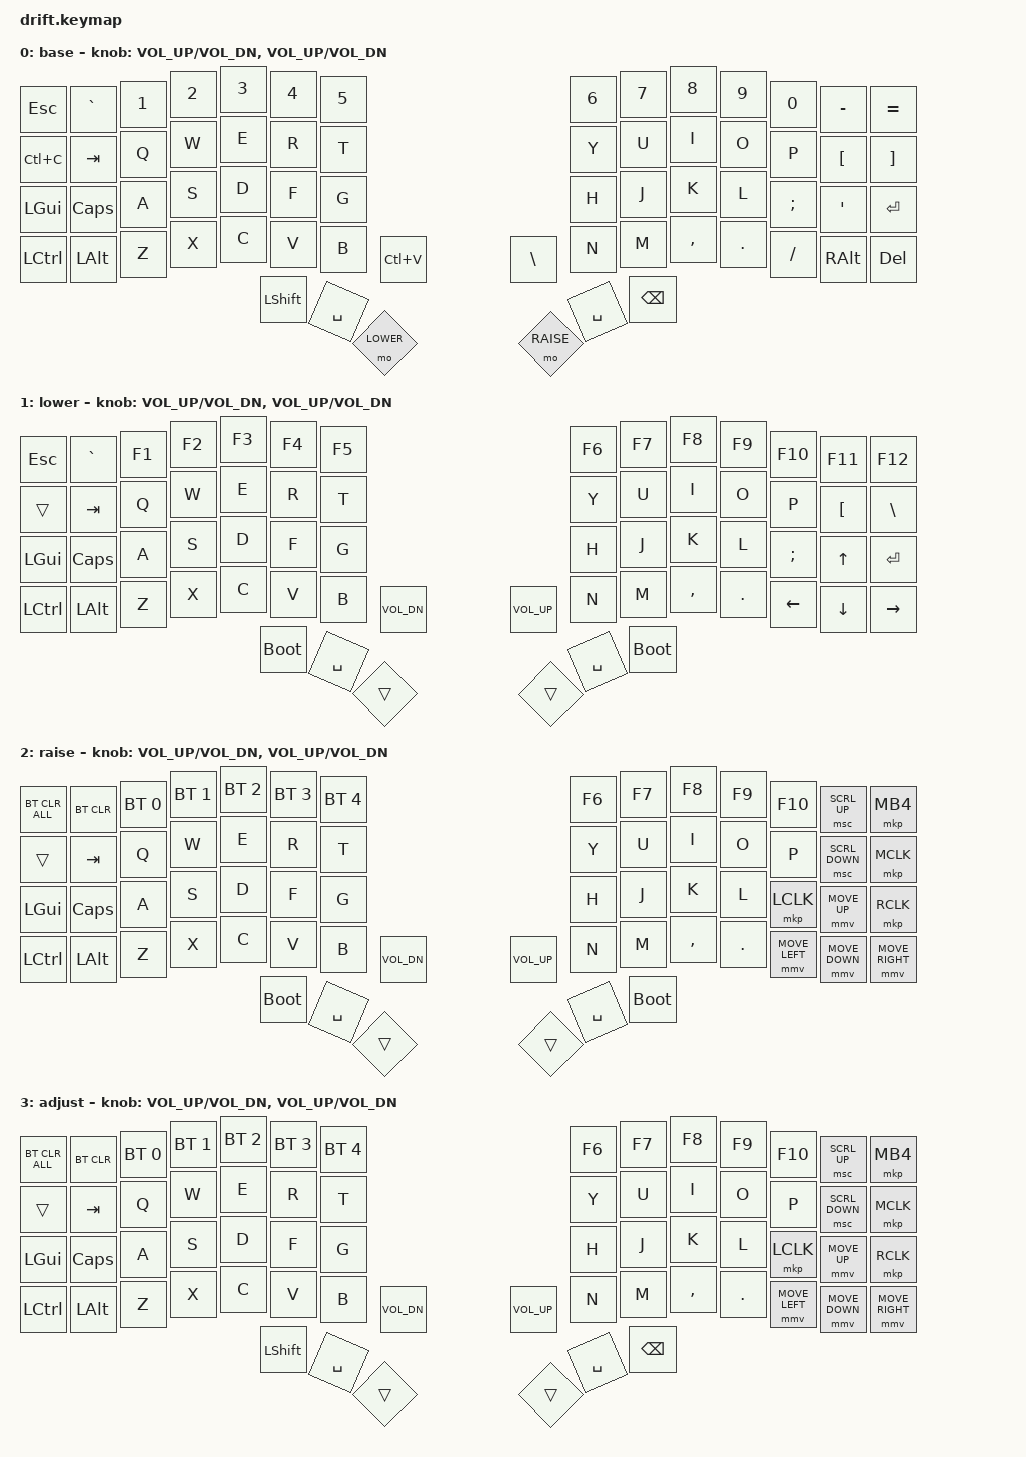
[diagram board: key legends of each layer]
// Copyright (c) 2025 Timception
// SPDX-License-Identifier: MIT

#define ZMK_POINTING_DEFAULT_MOVE_VAL 1500  // default: 600
#define ZMK_POINTING_DEFAULT_SCRL_VAL 20    // default: 10

#include <dt-bindings/zmk/mouse.h>
#include <behaviors.dtsi>
#include <dt-bindings/zmk/bt.h>
#include <dt-bindings/zmk/keys.h>
#include <dt-bindings/zmk/pointing.h>

#define BASE 0
#define LOWER 1
#define RAISE 2
#define ADJUST 3

/ {
    conditional_layers {
        compatible = "zmk,conditional-layers";

        tri_layer {
            if-layers = <LOWER RAISE>;
            then-layer = <ADJUST>;
        };
    };

    keymap {
        compatible = "zmk,keymap";

        default_layer {
            display-name = "base";

            // -------------------------------------------------------------------------------------------------------------------
            // | ESC   |   `   |  1  |  2  |  3  |   4   |   5   |               |   6   |   7   |   8   |  9  |  0  |  -  |  =  |
            // | COPY  |  TAB  |  Q  |  W  |  E  |   R   |   T   |               |   Y   |   U   |   I   |  O  |  P  |  [  |  ]  |
            // | GUI   | CAPS  |  A  |  S  |  D  |   F   |   G   |               |   H   |   J   |   K   |  L  |  ;  |  '  |ENTER|
            // | CTRL  |  ALT  |  Z  |  X  |  C  |   V   |   B   | PASTE | |  \  |   N   |   M   |   ,   |  .  |  /  | ALT |CTRL |
            //                                   | SHIFT | SPACE | LOWER |       | RAISE | SPACE | BKSPC |

           bindings = <
           &kp ESC    &kp GRAVE  &kp N1  &kp N2  &kp N3     &kp N4     &kp N5                               &kp N6     &kp N7     &kp N8     &kp N9   &kp N0    &kp MINUS  &kp EQUAL
           &kp LC(C)  &kp TAB    &kp Q   &kp W   &kp E      &kp R      &kp T                                &kp Y      &kp U      &kp I      &kp O    &kp P     &kp LBKT   &kp RBKT
           &kp LGUI   &kp CAPS   &kp A   &kp S   &kp D      &kp F      &kp G                                &kp H      &kp J      &kp K      &kp L    &kp SEMI  &kp SQT    &kp ENTER
           &kp LCTRL  &kp LALT   &kp Z   &kp X   &kp C      &kp V      &kp B      &kp LC(V)  &kp BACKSLASH  &kp N      &kp M      &kp COMMA  &kp DOT  &kp FSLH  &kp RALT   &kp DEL
                                                 &kp LSHFT  &kp SPACE  &mo LOWER                            &mo RAISE  &kp SPACE  &kp BSPC
            >;

            sensor-bindings = <&inc_dec_kp C_VOL_UP C_VOL_DN &inc_dec_kp C_VOL_UP C_VOL_DN>;
        };

        lower_layer {
            display-name = "lower";
			
	    // ----------------------------------------------------------------------------------------------------------------------------------------
            // | ESC   |   `   |  F1  |  F2  |     F3     |   F4   |   F5  |               |   F6  |   F7  |      F8    |  F9 |  F10 |   F11  |  F12  |
            // | COPY  |  TAB  |  Q   |  W   |     E      |   R    |   T   |               |   Y   |   U   |      I     |  O  |   P  |   [    |   \   |
            // | GUI   | CAPS  |  A   |  S   |     D      |   F    |   G   |               |   H   |   J   |      K     |  L  |   ;  |   UP   | ENTER |
            // | CTRL  |  ALT  |  Z   |  X   |     C      |   V    |   B   | VOL- | | VOL+ |   N   |   M   |      ,     |  .  | LEFT |  DOWN  | RIGHT |
            //                               | BOOTLOADER | SPACE  | LOWER |               | RAISE | SPACE | BOOTLOADER |

            bindings = <
            &kp ESC    &kp GRAVE  &kp F1  &kp F2  &kp F3       &kp F4     &kp F5                              &kp F6  &kp F7     &kp F8     &kp F9   &kp F10         &kp F11         &kp F12
            &trans     &kp TAB    &kp Q   &kp W   &kp E        &kp R      &kp T                               &kp Y   &kp U      &kp I      &kp O    &kp P           &kp LBKT        &kp BACKSLASH
            &kp LGUI   &kp CAPS   &kp A   &kp S   &kp D        &kp F      &kp G                               &kp H   &kp J      &kp K      &kp L    &kp SEMI        &kp UP_ARROW    &kp ENTER
            &kp LCTRL  &kp LALT   &kp Z   &kp X   &kp C        &kp V      &kp B   &kp C_VOL_DN  &kp C_VOL_UP  &kp N   &kp M      &kp COMMA  &kp DOT  &kp LEFT_ARROW  &kp DOWN_ARROW  &kp RIGHT_ARROW
                                                  &bootloader  &kp SPACE  &trans                              &trans  &kp SPACE  &bootloader
            >;

            sensor-bindings = <&inc_dec_kp C_VOL_UP C_VOL_DN &inc_dec_kp C_VOL_UP C_VOL_DN>;
        };

        raise_layer {
            display-name = "raise";

            // -----------------------------------------------------------------------------------------------------------------------------------------------------------------
            // | CLEAR ALL | CLEAR | BT1 | BT2 |    BT3     |  BT4  |  BT5  |                   |   F6  |   F7  |     F8     |  F9 |    F10     |  SCROLL UP  | Mouse Button 4 |
            // |   COPY    |  TAB  |  Q  |  W  |     E      |   R   |   T   |                   |   Y   |   U   |     I      |  O  |     P      | SCROLL DOWN |  MIDDLE CLICK  |
            // |    GUI    | CAPS  |  A  |  S  |     D      |   F   |   G   |                   |   H   |   J   |     K      |  L  | LEFT CLICK |  MOUSE UP   |  RIGHT CLICK   |
            // |   CTRL    |  ALT  |  Z  |  X  |     C      |   V   |   B   |  VOL-  | |  VOL+  |   N   |   M   |     ,      |  .  | MOUSE LEFT |  MOUSE DOWN |  MOUSE RIGHT   |
            //                                 | BOOTLOADER | SPACE | LOWER |                   | RAISE | SPACE | BOOTLOADER |

            bindings = <
            &bt BT_CLR_ALL  &bt BT_CLR  &bt BT_SEL 0  &bt BT_SEL 1  &bt BT_SEL 2  &bt BT_SEL 3  &bt BT_SEL 4                              &kp F6  &kp F7     &kp F8     &kp F9   &kp F10         &msc SCRL_UP    &mkp MB4
            &trans          &kp TAB     &kp Q         &kp W         &kp E         &kp R         &kp T                                     &kp Y   &kp U      &kp I      &kp O    &kp P           &msc SCRL_DOWN  &mkp MCLK
            &kp LGUI        &kp CAPS    &kp A         &kp S         &kp D         &kp F         &kp G                                     &kp H   &kp J      &kp K      &kp L    &mkp LCLK       &mmv MOVE_UP    &mkp RCLK
            &kp LCTRL       &kp LALT    &kp Z         &kp X         &kp C         &kp V         &kp B         &kp C_VOL_DN  &kp C_VOL_UP  &kp N   &kp M      &kp COMMA  &kp DOT  &mmv MOVE_LEFT  &mmv MOVE_DOWN  &mmv MOVE_RIGHT
                                                                    &bootloader   &kp SPACE     &trans                                    &trans  &kp SPACE  &bootloader
            >;

            sensor-bindings = <&inc_dec_kp C_VOL_UP C_VOL_DN &inc_dec_kp C_VOL_UP C_VOL_DN>;
        };

        adjust_layer {
	    display-name = "adjust";

            // -------------------------------------------------------------------------------------------------------------------------------------------------------
            // | CLEAR ALL | CLEAR | BT1 | BT2 |   BT3 |  BT4  |  BT5  |                   |   F6  |   F7  |   F8  |  F9 |    F10     |  SCROLL UP  | Mouse Button 4 |
            // |   COPY    |  TAB  |  Q  |  W  |   E   |   R   |   T   |                   |   Y   |   U   |   I   |  O  |     P      | SCROLL DOWN |  MIDDLE CLICK  |
            // |    GUI    | CAPS  |  A  |  S  |   D   |   F   |   G   |                   |   H   |   J   |   K   |  L  | LEFT CLICK |  MOUSE UP   |  RIGHT CLICK   |
            // |   CTRL    |  ALT  |  Z  |  X  |   C   |   V   |   B   |  VOL-  | |  VOL+  |   N   |   M   |   ,   |  .  | MOUSE LEFT |  MOUSE DOWN |  MOUSE RIGHT   |
            //                                 | SHIFT | SPACE | LOWER |                   | RAISE | SPACE | BKSPC |

            
            bindings = <
            &bt BT_CLR_ALL  &bt BT_CLR  &bt BT_SEL 0  &bt BT_SEL 1  &bt BT_SEL 2  &bt BT_SEL 3  &bt BT_SEL 4                             &kp F6  &kp F7     &kp F8     &kp F9   &kp F10         &msc SCRL_UP    &mkp MB4
            &trans          &kp TAB     &kp Q         &kp W         &kp E         &kp R         &kp T                                    &kp Y   &kp U      &kp I      &kp O    &kp P           &msc SCRL_DOWN  &mkp MCLK
            &kp LGUI        &kp CAPS    &kp A         &kp S         &kp D         &kp F         &kp G                                    &kp H   &kp J      &kp K      &kp L    &mkp LCLK       &mmv MOVE_UP    &mkp RCLK
            &kp LCTRL       &kp LALT    &kp Z         &kp X         &kp C         &kp V         &kp B        &kp C_VOL_DN  &kp C_VOL_UP  &kp N   &kp M      &kp COMMA  &kp DOT  &mmv MOVE_LEFT  &mmv MOVE_DOWN  &mmv MOVE_RIGHT
                                                                    &kp LSHFT     &kp SPACE     &trans                                   &trans  &kp SPACE  &kp BSPC
	    >;

            sensor-bindings = <&inc_dec_kp C_VOL_UP C_VOL_DN &inc_dec_kp C_VOL_UP C_VOL_DN>;
        };
    };
};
